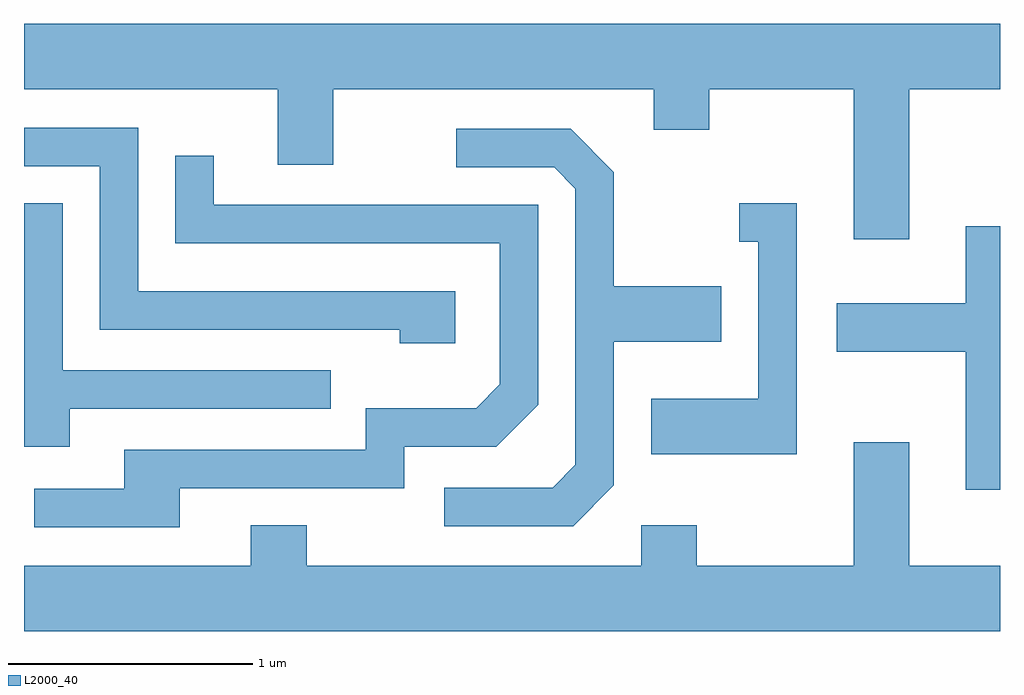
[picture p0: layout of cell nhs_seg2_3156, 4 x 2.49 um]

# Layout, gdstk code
import gdstk
lib = gdstk.Library(unit=1e-6, precision=1e-09)
def P(c, l, *ps):  # polygons
    for p in ps: c.add(gdstk.Polygon(p, *l))
L2000_40 = (2000, 40)

nhs_seg2_3156 = lib.new_cell('nhs_seg2_3156')
P(nhs_seg2_3156, L2000_40, [(281.239,1048.316),(281.611,1048.316),(281.611,1048.584),(277.611,1048.584),(277.611,1048.316),(278.651,1048.316),(278.651,1048.006),(278.879,1048.006),(278.879,1048.316),(280.191,1048.316),(280.191,1048.151),(280.419,1048.151),(280.419,1048.316),(281.011,1048.316),(281.011,1047.701),(281.239,1047.701)],
  [(279.379,1047.489),(278.079,1047.489),(278.079,1048.159),(277.611,1048.159),(277.611,1048.001),(277.921,1048.001),(277.921,1047.331),(279.151,1047.331),(279.151,1047.276),(279.379,1047.276)],
  [(280.029,1046.694),(280.029,1047.281),(280.469,1047.281),(280.469,1047.509),(280.029,1047.509),(280.029,1047.977),(279.852,1048.154),(279.383,1048.154),(279.383,1047.996),(279.784,1047.996),(279.871,1047.909),(279.871,1046.777),(279.779,1046.684),(279.333,1046.684),(279.333,1046.526),(279.862,1046.526)],
  [(278.249,1046.681),(279.169,1046.681),(279.169,1046.851),(279.547,1046.851),(279.719,1047.024),(279.719,1047.844),(278.389,1047.844),(278.389,1048.043),(278.231,1048.043),(278.231,1047.686),(279.561,1047.686),(279.561,1047.107),(279.464,1047.009),(279.011,1047.009),(279.011,1046.839),(278.021,1046.839),(278.021,1046.679),(277.653,1046.679),(277.653,1046.521),(278.249,1046.521)],
  [(280.779,1047.849),(280.543,1047.849),(280.543,1047.691),(280.621,1047.691),(280.621,1047.049),(280.181,1047.049),(280.181,1046.821),(280.779,1046.821)],
  [(277.799,1047.006),(278.868,1047.006),(278.868,1047.164),(277.769,1047.164),(277.769,1047.849),(277.611,1047.849),(277.611,1046.851),(277.799,1046.851)],
  [(281.611,1047.754),(281.471,1047.754),(281.471,1047.439),(280.941,1047.439),(280.941,1047.241),(281.471,1047.241),(281.471,1046.676),(281.611,1046.676)],
  [(281.611,1046.364),(281.239,1046.364),(281.239,1046.869),(281.011,1046.869),(281.011,1046.364),(280.369,1046.364),(280.369,1046.529),(280.141,1046.529),(280.141,1046.364),(278.769,1046.364),(278.769,1046.529),(278.541,1046.529),(278.541,1046.364),(277.611,1046.364),(277.611,1046.096),(281.611,1046.096)])

lib.write_gds('nhs_seg2_3156.gds')
